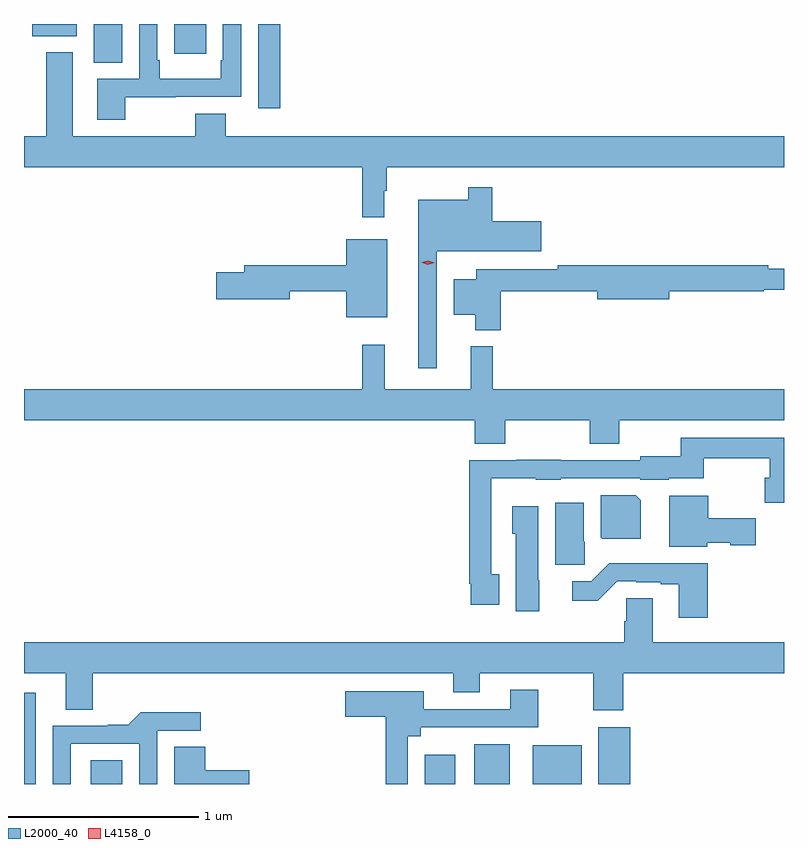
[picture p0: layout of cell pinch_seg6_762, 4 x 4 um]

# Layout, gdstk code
import gdstk
lib = gdstk.Library(unit=1e-6, precision=1e-09)
def R(c, l, rs):  # rectangles x0, y0, x1, y1
    for r in rs: c.add(gdstk.rectangle(r[:2], r[2:], *l))
def P(c, l, *ps):  # polygons
    for p in ps: c.add(gdstk.Polygon(p, *l))
L2000_40 = (2000, 40)
L4158_0 = (4158, 0)

pinch_seg6_762 = lib.new_cell('pinch_seg6_762')
R(pinch_seg6_762, L2000_40, [(364.791,969.398,364.852,969.877), (365.141,969.398,365.308,969.524), (366.899,969.398,367.06,969.553), (367.16,969.398,367.348,969.607), (367.469,969.398,367.726,969.601), (367.814,969.398,367.982,969.697), (366.024,972.954,366.14,973.398), (365.159,973.195,365.308,973.398), (365.582,973.242,365.749,973.398), (364.835,973.334,365.068,973.398)])
P(pinch_seg6_762, L2000_40, [(365.325,973.013),(365.59,973.013),(365.59,973.014),(365.934,973.014),(365.934,973.398),(365.838,973.398),(365.838,973.207),(365.826,973.207),(365.826,973.111),(365.506,973.111),(365.506,973.207),(365.493,973.207),(365.493,973.398),(365.397,973.398),(365.397,973.11),(365.177,973.11),(365.177,972.894),(365.325,972.894)],
  [(366.688,972.521),(366.7,972.521),(366.7,972.644),(368.791,972.644),(368.791,972.808),(365.852,972.808),(365.852,972.925),(365.692,972.925),(365.692,972.808),(365.047,972.808),(365.047,973.249),(364.907,973.249),(364.907,972.808),(364.791,972.808),(364.791,972.644),(366.571,972.644),(366.571,972.381),(366.688,972.381)],
  [(366.963,972.203),(367.513,972.203),(367.513,972.361),(367.256,972.361),(367.256,972.538),(367.128,972.538),(367.128,972.472),(366.866,972.472),(366.866,971.586),(366.963,971.586)],
  [(366.703,972.265),(366.488,972.265),(366.488,972.128),(365.951,972.128),(365.951,972.092),(365.802,972.092),(365.802,971.95),(366.19,971.95),(366.19,971.992),(366.488,971.992),(366.488,971.855),(366.703,971.855)],
  [(367.301,971.992),(367.808,971.992),(367.808,971.95),(368.188,971.95),(368.188,971.992),(368.684,971.992),(368.684,972),(368.791,972),(368.791,972.109),(368.708,972.109),(368.708,972.128),(367.6,972.128),(367.6,972.108),(367.172,972.108),(367.172,972.055),(367.052,972.055),(367.052,971.867),(367.166,971.867),(367.166,971.786),(367.301,971.786)],
  [(367.323,971.312),(367.768,971.312),(367.768,971.188),(367.923,971.188),(367.923,971.312),(368.791,971.312),(368.791,971.476),(367.259,971.476),(367.259,971.701),(367.142,971.701),(367.142,971.476),(366.689,971.476),(366.689,971.71),(366.571,971.71),(366.571,971.476),(364.791,971.476),(364.791,971.312),(367.163,971.312),(367.163,971.188),(367.323,971.188)],
  [(367.291,970.502),(367.251,970.502),(367.251,971.006),(367.485,971.006),(367.485,971),(367.617,971),(367.617,971.007),(368.034,971.007),(368.034,971),(368.184,971),(368.184,971.006),(368.368,971.006),(368.368,971.112),(368.715,971.112),(368.715,971.011),(368.689,971.011),(368.689,970.877),(368.791,970.877),(368.791,971.22),(368.247,971.22),(368.247,971.122),(368.034,971.122),(368.034,971.103),(367.617,971.103),(367.617,971.105),(367.385,971.105),(367.385,971.103),(367.135,971.103),(367.135,970.453),(367.143,970.453),(367.143,970.341),(367.291,970.341)],
  [(368.038,970.892),(368.012,970.918),(367.826,970.918),(367.826,970.696),(367.834,970.688),(368.038,970.688)],
  [(368.388,970.667),(368.508,970.667),(368.508,970.655),(368.641,970.655),(368.641,970.797),(368.392,970.797),(368.392,970.916),(368.186,970.916),(368.186,970.646),(368.388,970.646)],
  [(367.742,970.674),(367.738,970.674),(367.738,970.879),(367.586,970.879),(367.586,970.551),(367.742,970.551)],
  [(367.504,970.47),(367.498,970.47),(367.498,970.861),(367.361,970.861),(367.361,970.716),(367.379,970.716),(367.379,970.308),(367.504,970.308)],
  [(368.39,970.559),(367.871,970.559),(367.776,970.464),(367.677,970.464),(367.677,970.362),(367.812,970.362),(367.914,970.464),(368.014,970.464),(368.014,970.461),(368.141,970.461),(368.141,970.449),(368.237,970.449),(368.237,970.272),(368.39,970.272)],
  [(367.946,969.98),(368.791,969.98),(368.791,970.144),(368.101,970.144),(368.101,970.376),(367.962,970.376),(367.962,970.254),(367.949,970.254),(367.949,970.144),(364.791,970.144),(364.791,969.98),(365.012,969.98),(365.012,969.79),(365.152,969.79),(365.152,969.98),(367.049,969.98),(367.049,969.881),(367.189,969.881),(367.189,969.98),(367.786,969.98),(367.786,969.786),(367.946,969.786)],
  [(366.81,969.65),(366.88,969.65),(366.88,969.696),(367.497,969.696),(367.497,969.895),(367.349,969.895),(367.349,969.792),(366.895,969.792),(366.895,969.886),(366.483,969.886),(366.483,969.752),(366.694,969.752),(366.694,969.398),(366.81,969.398)],
  [(365.037,969.609),(365.397,969.609),(365.397,969.398),(365.493,969.398),(365.493,969.678),(365.722,969.678),(365.722,969.776),(365.405,969.776),(365.339,969.71),(365.231,969.71),(365.231,969.705),(364.941,969.705),(364.941,969.398),(365.037,969.398)],
  [(365.977,969.47),(365.744,969.47),(365.744,969.593),(365.582,969.593),(365.582,969.398),(365.977,969.398)])
P(pinch_seg6_762, L4158_0, [(366.917,972.132),(366.882,972.144),(366.882,972.144),(366.882,972.144),(366.918,972.152),(366.953,972.141),(366.953,972.141),(366.953,972.141)])

lib.write_gds('pinch_seg6_762.gds')
